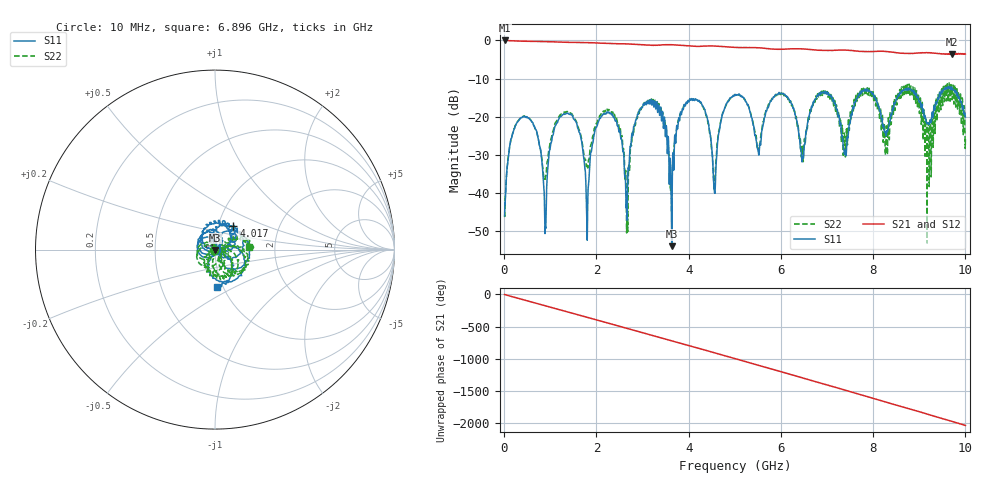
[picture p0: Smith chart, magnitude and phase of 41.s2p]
!Keysight Technologies,E5080B,MY59205177,A.15.75.32
!Date: Friday, February 23, 2024 03:29:25
!Correction: S11(Cdelta 2-Port  )
!S21(Cdelta 2-Port  )
!S12(Cdelta 2-Port  )
!S22(Cdelta 2-Port  )
!S2P File: Measurements: S11, S21, S12, S22:
# Hz S  dB  R 50
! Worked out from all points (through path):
!   10001 points, 10 MHz to 10 GHz, reference 50 ohm
!   highest |S21| = -0.02 dB at 14 MHz (marker M1); lowest = -3.7 dB at 9.701 GHz (marker M2)
!   group delay of S21, straight-line fit = 565 ps
!   lowest |S11| = -53.9 dB at 3.633 GHz (marker M3), VSWR 1.00, Z = 50.1 - j0.189 ohm
!   |S11| at or under -10 dB: start of sweep to end of sweep
!   |S22| runs from -53.1 to -11.2 dB; largest |S21 - S12| = 0.0015
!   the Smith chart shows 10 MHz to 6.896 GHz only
!   S11 on the Smith chart (normalised r, x): 10 MHz: 1.01, -0.00; 4.017 GHz: 1.18, +0.32; 6.896 GHz: 0.93, -0.41
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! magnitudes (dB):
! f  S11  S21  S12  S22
! 10 MHz  -46.0  0.0  0.0  -46.1
! 14 MHz  -43.3  0.0  0.0  -45.7
! 374.6 MHz  -20.2  -0.2  -0.2  -20.1
! 888.1 MHz  -50.0  -0.3  -0.3  -36.2
! 1.182 GHz  -20.7  -0.4  -0.4  -20.1
! 1.675 GHz  -26.0  -0.5  -0.5  -25.4
! 1.805 GHz  -49.4  -0.6  -0.6  -33.0
! 2.35 GHz  -19.4  -0.8  -0.8  -18.8
! 2.664 GHz  -47.0  -0.9  -0.9  -42.7
! 3.341 GHz  -17.5  -1.2  -1.2  -17.8
! 3.633 GHz  -53.9  -1.1  -1.1  -44.3
! 4.017 GHz  -15.6  -1.5  -1.5  -15.6
! 4.561 GHz  -39.7  -1.5  -1.5  -38.8
! 5.005 GHz  -14.1  -1.8  -1.8  -14.5
! 5.517 GHz  -29.8  -1.9  -1.9  -28.7
! 6.67 GHz  -17.3  -2.4  -2.4  -16.9
! 6.896 GHz  -13.6  -2.6  -2.6  -14.4
! 7.384 GHz  -29.8  -2.6  -2.6  -25.8
! 7.795 GHz  -13.1  -2.9  -2.9  -12.7
! 8.336 GHz  -22.7  -3.0  -3.0  -20.7
! 9.701 GHz  -12.3  -3.7  -3.7  -13.8
! 10 GHz  -20.1  -3.6  -3.6  -25.9
